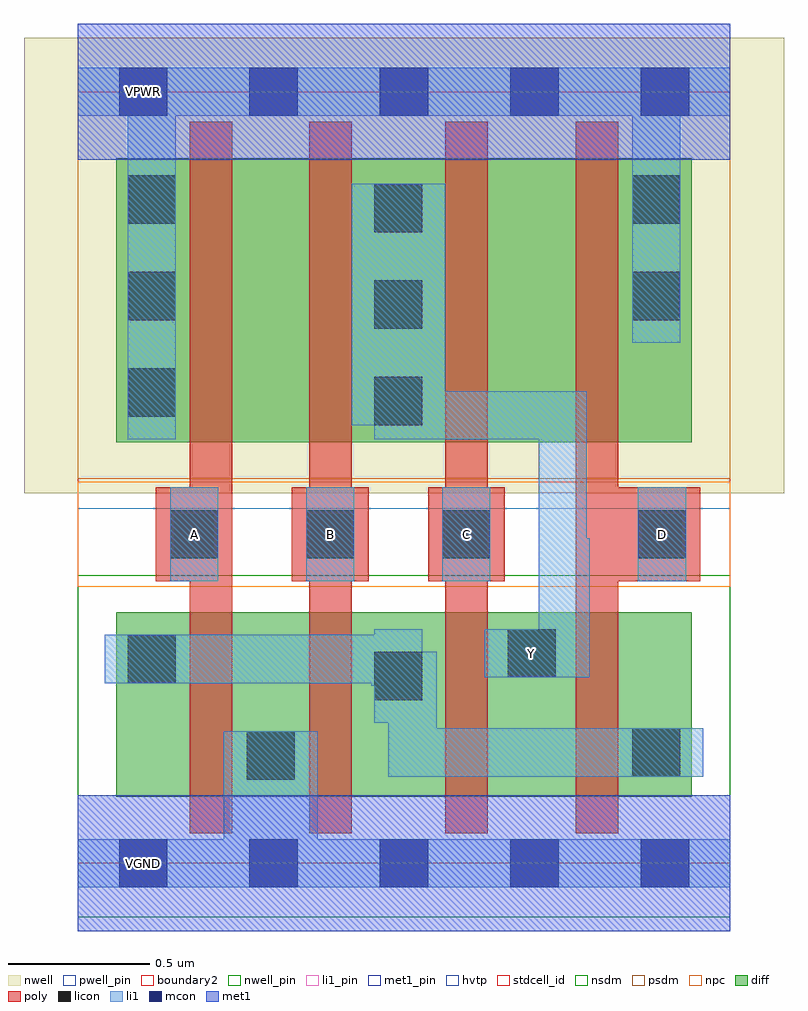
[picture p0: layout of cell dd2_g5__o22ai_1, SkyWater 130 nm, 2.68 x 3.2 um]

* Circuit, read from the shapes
.subckt dd2_g5__o22ai_1 A B C D VGND VNB VPB VPWR Y
XM1 VGND A n1 VNB sky130_fd_pr__nfet_01v8 w=0.65 l=0.15
XM2 n1 B VGND VNB sky130_fd_pr__nfet_01v8 w=0.65 l=0.15
XM3 Y C n1 VNB sky130_fd_pr__nfet_01v8 w=0.65 l=0.15
XM4 n1 D Y VNB sky130_fd_pr__nfet_01v8 w=0.65 l=0.15
XM5 n2 A VPWR VPB sky130_fd_pr__pfet_01v8_hvt w=1 l=0.15
XM6 Y B n2 VPB sky130_fd_pr__pfet_01v8_hvt w=1 l=0.15
XM7 n3 C Y VPB sky130_fd_pr__pfet_01v8_hvt w=1 l=0.15
XM8 VPWR D n3 VPB sky130_fd_pr__pfet_01v8_hvt w=1 l=0.15
.ends

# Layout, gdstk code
import gdstk
lib = gdstk.Library(unit=1e-6, precision=1e-09)
def R(c, l, rs):  # rectangles x0, y0, x1, y1
    for r in rs: c.add(gdstk.rectangle(r[:2], r[2:], *l))
def A(c, l, x, y, w, h, nx, ny, dx, dy):  # array of equal rectangles
    R(c, l, [(x+i*dx, y+j*dy, x+i*dx+w, y+j*dy+h) for i in range(nx) for j in range(ny)])
nwell_pin = (64, 16)
nwell = (64, 20)
diff = (65, 20)
poly = (66, 20)
licon = (66, 44)
li1_pin = (67, 16)
li1 = (67, 20)
mcon = (67, 44)
met1_pin = (68, 16)
met1 = (68, 20)
hvtp = (78, 44)
stdcell_id = (81, 4)
nsdm = (93, 44)
psdm = (94, 20)
npc = (95, 20)
pwell_pin = (122, 16)
boundary2 = (236, 0)

dd2_g5__o22ai_1 = lib.new_cell('dd2_g5__o22ai_1')
R(dd2_g5__o22ai_1, nwell_pin, [(0.145,2.635,0.315,2.805)])
R(dd2_g5__o22ai_1, nwell, [(-0.19,1.305,2.49,2.91)])
R(dd2_g5__o22ai_1, diff, [(0.135,0.235,0.89,0.885), (0.47,0.235,1.37,0.885), (0.89,0.235,1.83,0.885), (1.37,0.235,2.165,0.885), (0.135,1.485,0.89,2.485), (0.47,1.485,1.37,2.485), (0.89,1.485,1.83,2.485), (1.37,1.485,2.165,2.485)])
A(dd2_g5__o22ai_1, poly, 0.275, 0.995, 0.27, 0.33, 3, 1, 0.48, 0)
R(dd2_g5__o22ai_1, poly, [(0.395,0.105,0.545,2.615), (0.815,0.105,0.965,2.615), (1.295,0.105,1.445,2.615), (1.755,0.105,1.905,2.615), (1.755,0.995,2.195,1.325)])
A(dd2_g5__o22ai_1, licon, 0.325, 1.075, 0.17, 0.17, 3, 1, 0.48, 0)
A(dd2_g5__o22ai_1, licon, 1.045, 1.545, 0.17, 0.17, 1, 3, 0, 0.34)
A(dd2_g5__o22ai_1, licon, 0.175, 1.575, 0.17, 0.17, 1, 3, 0, 0.34)
R(dd2_g5__o22ai_1, licon, [(0.595,0.295,0.765,0.465), (1.955,0.305,2.125,0.475), (1.045,0.575,1.215,0.745), (0.175,0.635,0.345,0.805), (1.515,0.655,1.685,0.825), (1.975,1.075,2.145,1.245), (1.955,1.915,2.125,2.085), (1.955,2.255,2.125,2.425)])
A(dd2_g5__o22ai_1, li1_pin, 0.335, 1.085, 0.15, 0.15, 3, 1, 0.48, 0)
R(dd2_g5__o22ai_1, li1_pin, [(0.145,-0.085,0.315,0.085), (1.525,0.665,1.675,0.815), (1.985,1.085,2.135,1.235), (0.145,2.635,0.315,2.805)])
A(dd2_g5__o22ai_1, li1, 0.325, 0.995, 0.17, 0.33, 3, 1, 0.48, 0)
R(dd2_g5__o22ai_1, li1, [(0,-0.085,2.3,0.085), (0.515,0.085,0.845,0.465), (1.095,0.305,2.205,0.475), (1.095,0.475,1.265,0.495), (1.045,0.495,1.265,0.625), (1.035,0.625,1.265,0.635), (0.095,0.635,1.265,0.745), (1.435,0.655,1.805,0.825), (0.095,0.745,1.215,0.805), (1.045,0.805,1.215,0.825), (1.625,0.825,1.805,1.145), (1.975,0.995,2.145,1.325), (1.625,1.145,1.795,1.495), (0.175,1.495,0.345,2.635), (1.045,1.495,1.795,1.545), (0.965,1.545,1.795,1.665), (0.965,1.665,1.295,2.395), (1.955,1.835,2.125,2.635), (0,2.635,2.3,2.805)])
A(dd2_g5__o22ai_1, mcon, 0.145, -0.085, 0.17, 0.17, 5, 2, 0.46, 2.72)
R(dd2_g5__o22ai_1, met1_pin, [(0.145,-0.085,0.315,0.085), (0.145,2.635,0.315,2.805)])
R(dd2_g5__o22ai_1, met1, [(0,-0.24,2.3,0.24), (0,2.48,2.3,2.96)])
R(dd2_g5__o22ai_1, hvtp, [(0,1.25,2.3,2.72)])
R(dd2_g5__o22ai_1, stdcell_id, [(0,0,2.3,2.72)])
R(dd2_g5__o22ai_1, nsdm, [(0,-0.19,2.3,1.015)])
R(dd2_g5__o22ai_1, psdm, [(0,1.355,2.3,2.91)])
R(dd2_g5__o22ai_1, npc, [(0,0.975,2.3,1.345)])
R(dd2_g5__o22ai_1, pwell_pin, [(0.145,-0.085,0.315,0.085)])
R(dd2_g5__o22ai_1, boundary2, [(0,0,2.3,2.72)])
dd2_g5__o22ai_1.add(gdstk.Label('VPWR', (0.23,2.72), layer=68, texttype=5))
dd2_g5__o22ai_1.add(gdstk.Label('VGND', (0.23,0), layer=68, texttype=5))
dd2_g5__o22ai_1.add(gdstk.Label('VPWR', (0.23,2.72), layer=67, texttype=5))
dd2_g5__o22ai_1.add(gdstk.Label('VGND', (0.23,0), layer=67, texttype=5))
dd2_g5__o22ai_1.add(gdstk.Label('A', (0.41,1.16), layer=67, texttype=5))
dd2_g5__o22ai_1.add(gdstk.Label('B', (0.89,1.16), layer=67, texttype=5))
dd2_g5__o22ai_1.add(gdstk.Label('C', (1.37,1.16), layer=67, texttype=5))
dd2_g5__o22ai_1.add(gdstk.Label('D', (2.06,1.16), layer=67, texttype=5))
dd2_g5__o22ai_1.add(gdstk.Label('Y', (1.6,0.74), layer=67, texttype=5))
dd2_g5__o22ai_1.add(gdstk.Label('VPB', (0.23,2.72), layer=64, texttype=5))
dd2_g5__o22ai_1.add(gdstk.Label('VNB', (0.23,0), layer=64, texttype=59))

lib.write_gds('dd2_g5__o22ai_1.gds')
